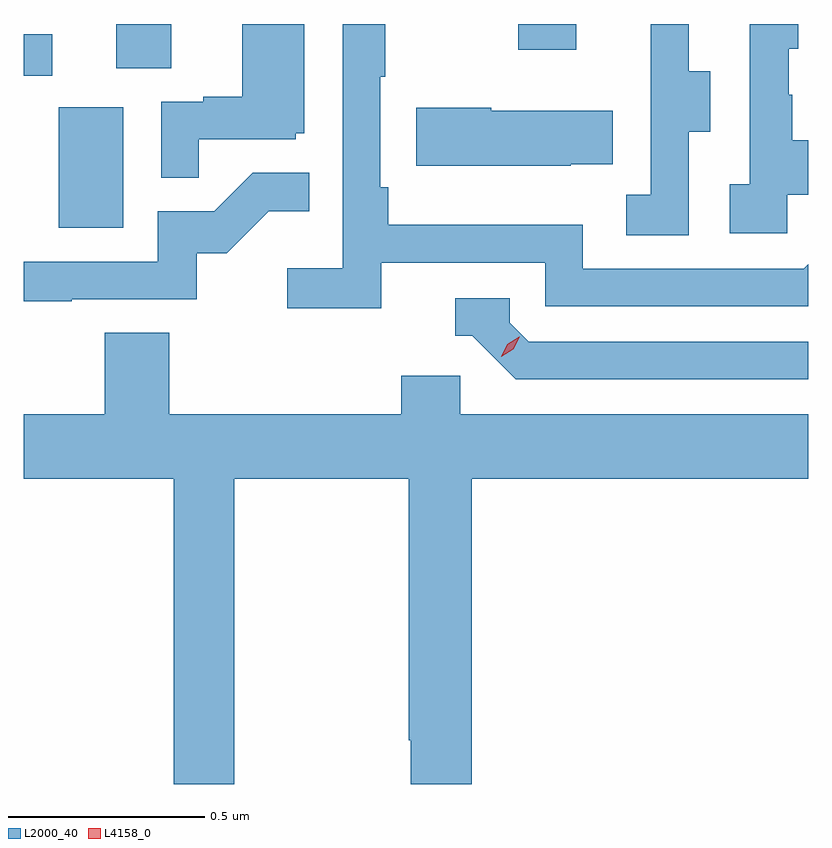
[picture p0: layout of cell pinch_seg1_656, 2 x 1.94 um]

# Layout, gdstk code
import gdstk
lib = gdstk.Library(unit=1e-6, precision=1e-09)
def R(c, l, rs):  # rectangles x0, y0, x1, y1
    for r in rs: c.add(gdstk.rectangle(r[:2], r[2:], *l))
def P(c, l, *ps):  # polygons
    for p in ps: c.add(gdstk.Polygon(p, *l))
L2000_40 = (2000, 40)
L4158_0 = (4158, 0)

pinch_seg1_656 = lib.new_cell('pinch_seg1_656')
R(pinch_seg1_656, L2000_40, [(1084.4,512.412,1084.564,512.719), (1084.311,512.799,1084.384,512.905), (1084.547,512.818,1084.687,512.931), (1085.572,512.865,1085.719,512.931)])
P(pinch_seg1_656, L2000_40, [(1086.006,512.656),(1086.061,512.656),(1086.061,512.811),(1086.007,512.811),(1086.007,512.931),(1085.909,512.931),(1085.909,512.799),(1085.91,512.799),(1085.91,512.495),(1085.847,512.495),(1085.847,512.392),(1086.006,512.392)],
  [(1084.757,512.637),(1085.004,512.637),(1085.004,512.652),(1085.026,512.652),(1085.026,512.931),(1084.868,512.931),(1084.868,512.746),(1084.769,512.746),(1084.769,512.733),(1084.662,512.733),(1084.662,512.539),(1084.757,512.539)],
  [(1085.222,512.322),(1085.64,512.322),(1085.64,512.211),(1086.311,512.211),(1086.311,512.318),(1086.3,512.307),(1085.736,512.307),(1085.736,512.419),(1085.24,512.419),(1085.24,512.515),(1085.22,512.515),(1085.22,512.797),(1085.233,512.797),(1085.233,512.931),(1085.124,512.931),(1085.124,512.308),(1084.983,512.308),(1084.983,512.206),(1085.222,512.206)],
  [(1086.258,512.495),(1086.311,512.495),(1086.311,512.635),(1086.271,512.635),(1086.271,512.75),(1086.261,512.75),(1086.261,512.868),(1086.286,512.868),(1086.286,512.931),(1086.162,512.931),(1086.162,512.522),(1086.111,512.522),(1086.111,512.397),(1086.258,512.397)],
  [(1085.705,512.573),(1085.813,512.573),(1085.813,512.71),(1085.503,512.71),(1085.503,512.718),(1085.312,512.718),(1085.312,512.57),(1085.705,512.57)],
  [(1084.433,512.229),(1084.752,512.229),(1084.752,512.346),(1084.828,512.346),(1084.935,512.453),(1085.039,512.453),(1085.039,512.552),(1084.895,512.552),(1084.797,512.454),(1084.653,512.454),(1084.653,512.325),(1084.311,512.325),(1084.311,512.224),(1084.433,512.224)],
  [(1086.311,512.121),(1085.598,512.121),(1085.55,512.169),(1085.55,512.232),(1085.411,512.232),(1085.411,512.136),(1085.454,512.136),(1085.565,512.025),(1086.311,512.025)],
  [(1084.848,511.772),(1085.293,511.772),(1085.293,511.105),(1085.297,511.105),(1085.297,510.993),(1085.453,510.993),(1085.453,511.772),(1086.311,511.772),(1086.311,511.936),(1085.424,511.936),(1085.424,512.034),(1085.273,512.034),(1085.273,511.936),(1084.682,511.936),(1084.682,512.144),(1084.517,512.144),(1084.517,511.936),(1084.311,511.936),(1084.311,511.772),(1084.693,511.772),(1084.693,510.993),(1084.848,510.993)])
P(pinch_seg1_656, L4158_0, [(1085.529,512.082),(1085.529,512.082),(1085.544,512.114),(1085.574,512.134),(1085.575,512.134),(1085.575,512.134),(1085.559,512.101),(1085.529,512.082)])

lib.write_gds('pinch_seg1_656.gds')
